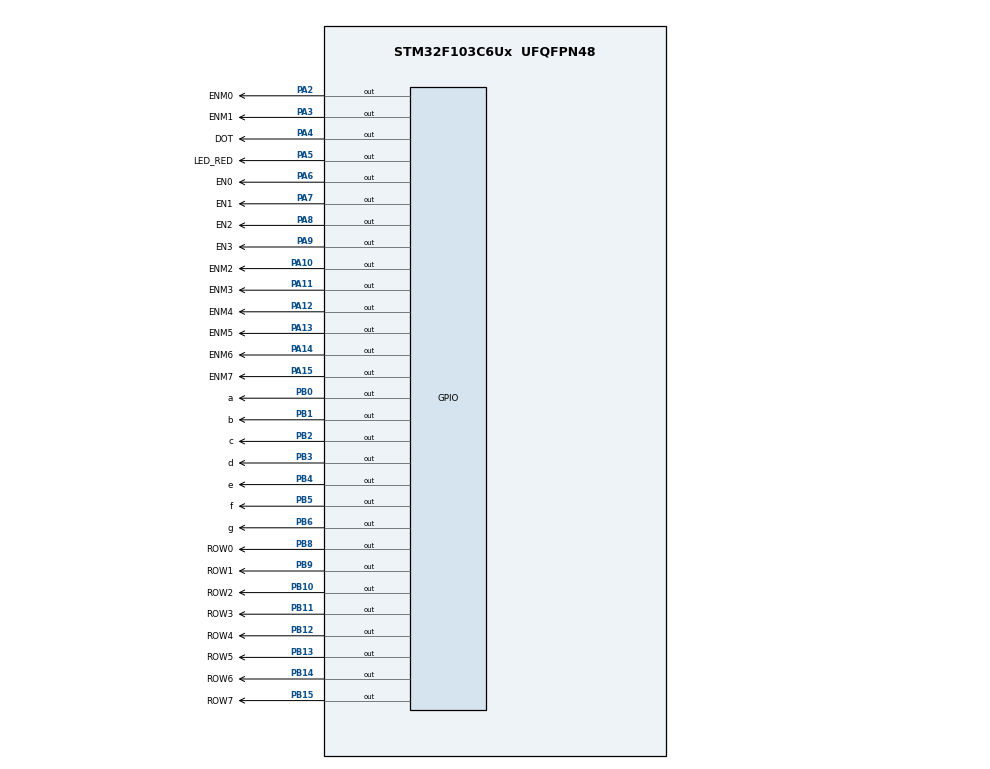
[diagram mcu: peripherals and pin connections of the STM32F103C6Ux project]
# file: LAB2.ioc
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Mcu.Family=STM32F1
Mcu.Name=STM32F103C6Ux
Mcu.Package=UFQFPN48
NVIC.PriorityGroup=NVIC_PRIORITYGROUP_4
NVIC.TIM2_IRQn=true\:0\:0\:false\:false\:true\:true\:true
PA10.GPIO_Label=ENM2
PA10.Signal=GPIO_Output
PA11.GPIO_Label=ENM3
PA11.Signal=GPIO_Output
PA12.GPIO_Label=ENM4
PA12.Signal=GPIO_Output
PA13.GPIO_Label=ENM5
PA13.Signal=GPIO_Output
PA14.GPIO_Label=ENM6
PA14.Signal=GPIO_Output
PA15.GPIO_Label=ENM7
PA15.Signal=GPIO_Output
PA2.GPIO_Label=ENM0
PA2.Signal=GPIO_Output
PA3.GPIO_Label=ENM1
PA3.Signal=GPIO_Output
PA4.GPIO_Label=DOT
PA4.Signal=GPIO_Output
PA5.GPIO_Label=LED_RED
PA5.Signal=GPIO_Output
PA6.GPIO_Label=EN0
PA6.Signal=GPIO_Output
PA7.GPIO_Label=EN1
PA7.Signal=GPIO_Output
PA8.GPIO_Label=EN2
PA8.Signal=GPIO_Output
PA9.GPIO_Label=EN3
PA9.Signal=GPIO_Output
PB0.GPIO_Label=a
PB0.Signal=GPIO_Output
PB1.GPIO_Label=b
PB1.Signal=GPIO_Output
PB10.GPIO_Label=ROW2
PB10.Signal=GPIO_Output
PB11.GPIO_Label=ROW3
PB11.Signal=GPIO_Output
PB12.GPIO_Label=ROW4
PB12.Signal=GPIO_Output
PB13.GPIO_Label=ROW5
PB13.Signal=GPIO_Output
PB14.GPIO_Label=ROW6
PB14.Signal=GPIO_Output
PB15.GPIO_Label=ROW7
PB15.Signal=GPIO_Output
PB2.GPIO_Label=c
PB2.Signal=GPIO_Output
PB3.GPIO_Label=d
PB3.Signal=GPIO_Output
PB4.GPIO_Label=e
PB4.Signal=GPIO_Output
PB5.GPIO_Label=f
PB5.Signal=GPIO_Output
PB6.GPIO_Label=g
PB6.Signal=GPIO_Output
PB8.GPIO_Label=ROW0
PB8.Signal=GPIO_Output
PB9.GPIO_Label=ROW1
PB9.Signal=GPIO_Output
ProjectManager.HeapSize=0x200
ProjectManager.StackSize=0x400
ProjectManager.TargetToolchain=STM32CubeIDE
RCC.APB1Freq_Value=8000000
RCC.APB2Freq_Value=8000000
TIM2.Period=9
TIM2.Prescaler=7999
VP_SYS_VS_ND.Mode=No_Debug
VP_TIM2_VS_ClockSourceINT.Mode=Internal
board=custom

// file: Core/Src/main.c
/* USER CODE BEGIN Header */
/**
  ******************************************************************************
  * @file           : main.c
  * @brief          : Main program body
  ******************************************************************************
  * @attention
  *
  * <h2><center>&copy; Copyright (c) 2023 STMicroelectronics.
  * All rights reserved.</center></h2>
  *
  * This software component is licensed by ST under BSD 3-Clause license,
  * the "License"; You may not use this file except in compliance with the
  * License. You may obtain a copy of the License at:
  *                        opensource.org/licenses/BSD-3-Clause
  *
  ******************************************************************************
  */
/* USER CODE END Header */
#include "main.h"

/* USER CODE BEGIN Includes */
# include "software_timer.h"
# include "LED7seg.h"
# include "LEDMatrix.h"
/* USER CODE END Includes */

TIM_HandleTypeDef htim2;

void SystemClock_Config(void);
static void MX_GPIO_Init(void);
static void MX_TIM2_Init(void);

/* USER CODE BEGIN 0 */
void updateClockBuffer(int hour, int min);
void update7SEG(int index);
void updateLEDMatrix(int index_led_matrix);
void updateIndex();
/* USER CODE END 0 */

int main(void)
{

  /* MCU Configuration--------------------------------------------------------*/

  /* Reset of all peripherals, Initializes the Flash interface and the Systick. */
  HAL_Init();

  /* USER CODE BEGIN Init */
  int index = 0;
  int counter = 0;
  int hour = 15, min = 8, sec = 50;
  int index_led_matrix = 0;
  int counter_led_matrix = 0;
  /* USER CODE END Init */

  /* Configure the system clock */
  SystemClock_Config();

  /* Initialize all configured peripherals */
  MX_GPIO_Init();
  MX_TIM2_Init();
  /* USER CODE BEGIN 2 */
  HAL_TIM_Base_Start_IT(&htim2);

  /* USER CODE END 2 */

  /* Infinite loop */
  /* USER CODE BEGIN WHILE */
  setTimer1(25);
  //setTimer2(100);
  setTimer3(10);
  updateClockBuffer(hour, min);
  while (1)
  {
	  if(timer1_flag == 1){
		  if(counter > 3){
			  sec++;
			  if (sec >= 60){
				  sec = 0;
				  min++;
			  }
			  if(min >= 60){
				  min = 0;
				  hour++;
			  }
			  if(hour >=24){
				  hour = 0;
			  }
			  updateClockBuffer(hour, min);
			  HAL_GPIO_TogglePin(DOT_GPIO_Port, DOT_Pin);
			  counter = 0;
		  }
		  counter++;
		  update7SEG(index++);
		  if(index > 3) index = 0;
		  setTimer1(25);
	  }

	  if(timer3_flag == 1){
		  if(counter_led_matrix > 7){
			  updateIndex();
			  counter_led_matrix = 0;
		  }
		  counter_led_matrix++;
		  updateLEDMatrix(index_led_matrix++);
		  if(index_led_matrix > 7) index_led_matrix = 0;
		  setTimer3(10);
	  }
    /* USER CODE END WHILE */

  }
}

void SystemClock_Config(void)
{
  RCC_OscInitTypeDef RCC_OscInitStruct = {0};
  RCC_ClkInitTypeDef RCC_ClkInitStruct = {0};

  /** Initializes the RCC Oscillators according to the specified parameters
  * in the RCC_OscInitTypeDef structure.
  */
  RCC_OscInitStruct.OscillatorType = RCC_OSCILLATORTYPE_HSI;
  RCC_OscInitStruct.HSIState = RCC_HSI_ON;
  RCC_OscInitStruct.HSICalibrationValue = RCC_HSICALIBRATION_DEFAULT;
  RCC_OscInitStruct.PLL.PLLState = RCC_PLL_NONE;
  if (HAL_RCC_OscConfig(&RCC_OscInitStruct) != HAL_OK)
  {
    Error_Handler();
  }
  /** Initializes the CPU, AHB and APB buses clocks
  */
  RCC_ClkInitStruct.ClockType = RCC_CLOCKTYPE_HCLK|RCC_CLOCKTYPE_SYSCLK
                              |RCC_CLOCKTYPE_PCLK1|RCC_CLOCKTYPE_PCLK2;
  RCC_ClkInitStruct.SYSCLKSource = RCC_SYSCLKSOURCE_HSI;
  RCC_ClkInitStruct.AHBCLKDivider = RCC_SYSCLK_DIV1;
  RCC_ClkInitStruct.APB1CLKDivider = RCC_HCLK_DIV1;
  RCC_ClkInitStruct.APB2CLKDivider = RCC_HCLK_DIV1;

  if (HAL_RCC_ClockConfig(&RCC_ClkInitStruct, FLASH_LATENCY_0) != HAL_OK)
  {
    Error_Handler();
  }
}

static void MX_TIM2_Init(void)
{

  TIM_ClockConfigTypeDef sClockSourceConfig = {0};
  TIM_MasterConfigTypeDef sMasterConfig = {0};

  htim2.Instance = TIM2;
  htim2.Init.Prescaler = 7999;
  htim2.Init.CounterMode = TIM_COUNTERMODE_UP;
  htim2.Init.Period = 9;
  htim2.Init.ClockDivision = TIM_CLOCKDIVISION_DIV1;
  htim2.Init.AutoReloadPreload = TIM_AUTORELOAD_PRELOAD_DISABLE;
  if (HAL_TIM_Base_Init(&htim2) != HAL_OK)
  {
    Error_Handler();
  }
  sClockSourceConfig.ClockSource = TIM_CLOCKSOURCE_INTERNAL;
  if (HAL_TIM_ConfigClockSource(&htim2, &sClockSourceConfig) != HAL_OK)
  {
    Error_Handler();
  }
  sMasterConfig.MasterOutputTrigger = TIM_TRGO_RESET;
  sMasterConfig.MasterSlaveMode = TIM_MASTERSLAVEMODE_DISABLE;
  if (HAL_TIMEx_MasterConfigSynchronization(&htim2, &sMasterConfig) != HAL_OK)
  {
    Error_Handler();
  }

}

static void MX_GPIO_Init(void)
{
  GPIO_InitTypeDef GPIO_InitStruct = {0};

  /* GPIO Ports Clock Enable */
  __HAL_RCC_GPIOA_CLK_ENABLE();
  __HAL_RCC_GPIOB_CLK_ENABLE();

  /*Configure GPIO pin Output Level */
  HAL_GPIO_WritePin(GPIOA, ENM0_Pin|ENM1_Pin|DOT_Pin|LED_RED_Pin
                          |EN0_Pin|EN1_Pin|EN2_Pin|EN3_Pin
                          |ENM2_Pin|ENM3_Pin|ENM4_Pin|ENM5_Pin
                          |ENM6_Pin|ENM7_Pin, GPIO_PIN_RESET);

  /*Configure GPIO pin Output Level */
  HAL_GPIO_WritePin(GPIOB, a_Pin|b_Pin|c_Pin|ROW2_Pin
                          |ROW3_Pin|ROW4_Pin|ROW5_Pin|ROW6_Pin
                          |ROW7_Pin|d_Pin|e_Pin|f_Pin
                          |g_Pin|ROW0_Pin|ROW1_Pin, GPIO_PIN_RESET);

  /*Configure GPIO pins : ENM0_Pin ENM1_Pin DOT_Pin LED_RED_Pin
                           EN0_Pin EN1_Pin EN2_Pin EN3_Pin
                           ENM2_Pin ENM3_Pin ENM4_Pin ENM5_Pin
                           ENM6_Pin ENM7_Pin */
  GPIO_InitStruct.Pin = ENM0_Pin|ENM1_Pin|DOT_Pin|LED_RED_Pin
                          |EN0_Pin|EN1_Pin|EN2_Pin|EN3_Pin
                          |ENM2_Pin|ENM3_Pin|ENM4_Pin|ENM5_Pin
                          |ENM6_Pin|ENM7_Pin;
  GPIO_InitStruct.Mode = GPIO_MODE_OUTPUT_PP;
  GPIO_InitStruct.Pull = GPIO_NOPULL;
  GPIO_InitStruct.Speed = GPIO_SPEED_FREQ_LOW;
  HAL_GPIO_Init(GPIOA, &GPIO_InitStruct);

  /*Configure GPIO pins : a_Pin b_Pin c_Pin ROW2_Pin
                           ROW3_Pin ROW4_Pin ROW5_Pin ROW6_Pin
                           ROW7_Pin d_Pin e_Pin f_Pin
                           g_Pin ROW0_Pin ROW1_Pin */
  GPIO_InitStruct.Pin = a_Pin|b_Pin|c_Pin|ROW2_Pin
                          |ROW3_Pin|ROW4_Pin|ROW5_Pin|ROW6_Pin
                          |ROW7_Pin|d_Pin|e_Pin|f_Pin
                          |g_Pin|ROW0_Pin|ROW1_Pin;
  GPIO_InitStruct.Mode = GPIO_MODE_OUTPUT_PP;
  GPIO_InitStruct.Pull = GPIO_NOPULL;
  GPIO_InitStruct.Speed = GPIO_SPEED_FREQ_LOW;
  HAL_GPIO_Init(GPIOB, &GPIO_InitStruct);

}

/* USER CODE BEGIN 4 */
const int MAX_LED = 4;
int led_buffer[4] = {1, 2, 3, 4};

void updateClockBuffer(int hour, int min){
	if(hour < 24 && hour >= 0 && min < 60 && min >= 0){
		led_buffer[0] = hour / 10;
		led_buffer[1] = hour % 10;
		led_buffer[2] = min / 10;
		led_buffer[3] = min % 10;
	}
}
void update7SEG(int index){
    switch (index){
        case 0:
        	HAL_GPIO_WritePin(EN0_GPIO_Port, EN0_Pin, 0);
        	HAL_GPIO_WritePin(EN1_GPIO_Port, EN1_Pin, 1);
        	HAL_GPIO_WritePin(EN2_GPIO_Port, EN2_Pin, 1);
        	HAL_GPIO_WritePin(EN3_GPIO_Port, EN3_Pin, 1);
        	display7SEG(led_buffer[0]);
            break;
        case 1:
        	HAL_GPIO_WritePin(EN0_GPIO_Port, EN0_Pin, 1);
        	HAL_GPIO_WritePin(EN1_GPIO_Port, EN1_Pin, 0);
        	HAL_GPIO_WritePin(EN2_GPIO_Port, EN2_Pin, 1);
        	HAL_GPIO_WritePin(EN3_GPIO_Port, EN3_Pin, 1);
        	display7SEG(led_buffer[1]);
            break;
        case 2:
        	HAL_GPIO_WritePin(EN0_GPIO_Port, EN0_Pin, 1);
        	HAL_GPIO_WritePin(EN1_GPIO_Port, EN1_Pin, 1);
        	HAL_GPIO_WritePin(EN2_GPIO_Port, EN2_Pin, 0);
        	HAL_GPIO_WritePin(EN3_GPIO_Port, EN3_Pin, 1);
        	display7SEG(led_buffer[2]);
            break;
        case 3:
        	HAL_GPIO_WritePin(EN0_GPIO_Port, EN0_Pin, 1);
        	HAL_GPIO_WritePin(EN1_GPIO_Port, EN1_Pin, 1);
        	HAL_GPIO_WritePin(EN2_GPIO_Port, EN2_Pin, 1);
        	HAL_GPIO_WritePin(EN3_GPIO_Port, EN3_Pin, 0);
        	display7SEG(led_buffer[3]);
            break;
        default:
            break;
    }
}

const int MAX_LED_MATRIX = 8;
uint8_t matrix_buffer[8] = {0x07, 0x03, 0xcd, 0xcc, 0xcc, 0xcd, 0x03, 0x07};//A
void updateLEDMatrix(int index){
    switch (index){
        case 0:
        	HAL_GPIO_WritePin(ENM0_GPIO_Port, ENM0_Pin, 0);
        	HAL_GPIO_WritePin(ENM1_GPIO_Port, ENM1_Pin, 1);
        	HAL_GPIO_WritePin(ENM2_GPIO_Port, ENM2_Pin, 1);
        	HAL_GPIO_WritePin(ENM3_GPIO_Port, ENM3_Pin, 1);
        	HAL_GPIO_WritePin(ENM4_GPIO_Port, ENM4_Pin, 1);
        	HAL_GPIO_WritePin(ENM5_GPIO_Port, ENM5_Pin, 1);
        	HAL_GPIO_WritePin(ENM6_GPIO_Port, ENM6_Pin, 1);
        	HAL_GPIO_WritePin(ENM7_GPIO_Port, ENM7_Pin, 1);
        	displayLEDMatrix(matrix_buffer[0]);
            break;
        case 1:
        	HAL_GPIO_WritePin(ENM0_GPIO_Port, ENM0_Pin, 1);
        	HAL_GPIO_WritePin(ENM1_GPIO_Port, ENM1_Pin, 0);
        	HAL_GPIO_WritePin(ENM2_GPIO_Port, ENM2_Pin, 1);
        	HAL_GPIO_WritePin(ENM3_GPIO_Port, ENM3_Pin, 1);
        	HAL_GPIO_WritePin(ENM4_GPIO_Port, ENM4_Pin, 1);
        	HAL_GPIO_WritePin(ENM5_GPIO_Port, ENM5_Pin, 1);
        	HAL_GPIO_WritePin(ENM6_GPIO_Port, ENM6_Pin, 1);
        	HAL_GPIO_WritePin(ENM7_GPIO_Port, ENM7_Pin, 1);
        	displayLEDMatrix(matrix_buffer[1]);
            break;
        case 2:
        	HAL_GPIO_WritePin(ENM0_GPIO_Port, ENM0_Pin, 1);
        	HAL_GPIO_WritePin(ENM1_GPIO_Port, ENM1_Pin, 1);
        	HAL_GPIO_WritePin(ENM2_GPIO_Port, ENM2_Pin, 0);
        	HAL_GPIO_WritePin(ENM3_GPIO_Port, ENM3_Pin, 1);
        	HAL_GPIO_WritePin(ENM4_GPIO_Port, ENM4_Pin, 1);
        	HAL_GPIO_WritePin(ENM5_GPIO_Port, ENM5_Pin, 1);
        	HAL_GPIO_WritePin(ENM6_GPIO_Port, ENM6_Pin, 1);
        	HAL_GPIO_WritePin(ENM7_GPIO_Port, ENM7_Pin, 1);
        	displayLEDMatrix(matrix_buffer[2]);
            break;
        case 3:
        	HAL_GPIO_WritePin(ENM0_GPIO_Port, ENM0_Pin, 1);
        	HAL_GPIO_WritePin(ENM1_GPIO_Port, ENM1_Pin, 1);
        	HAL_GPIO_WritePin(ENM2_GPIO_Port, ENM2_Pin, 1);
        	HAL_GPIO_WritePin(ENM3_GPIO_Port, ENM3_Pin, 0);
        	HAL_GPIO_WritePin(ENM4_GPIO_Port, ENM4_Pin, 1);
        	HAL_GPIO_WritePin(ENM5_GPIO_Port, ENM5_Pin, 1);
        	HAL_GPIO_WritePin(ENM6_GPIO_Port, ENM6_Pin, 1);
        	HAL_GPIO_WritePin(ENM7_GPIO_Port, ENM7_Pin, 1);
        	displayLEDMatrix(matrix_buffer[3]);
            break;
        case 4:
        	HAL_GPIO_WritePin(ENM0_GPIO_Port, ENM0_Pin, 1);
        	HAL_GPIO_WritePin(ENM1_GPIO_Port, ENM1_Pin, 1);
        	HAL_GPIO_WritePin(ENM2_GPIO_Port, ENM2_Pin, 1);
        	HAL_GPIO_WritePin(ENM3_GPIO_Port, ENM3_Pin, 1);
        	HAL_GPIO_WritePin(ENM4_GPIO_Port, ENM4_Pin, 0);
        	HAL_GPIO_WritePin(ENM5_GPIO_Port, ENM5_Pin, 1);
        	HAL_GPIO_WritePin(ENM6_GPIO_Port, ENM6_Pin, 1);
        	HAL_GPIO_WritePin(ENM7_GPIO_Port, ENM7_Pin, 1);
        	displayLEDMatrix(matrix_buffer[4]);
            break;
        case 5:
        	HAL_GPIO_WritePin(ENM0_GPIO_Port, ENM0_Pin, 1);
        	HAL_GPIO_WritePin(ENM1_GPIO_Port, ENM1_Pin, 1);
        	HAL_GPIO_WritePin(ENM2_GPIO_Port, ENM2_Pin, 1);
        	HAL_GPIO_WritePin(ENM3_GPIO_Port, ENM3_Pin, 1);
        	HAL_GPIO_WritePin(ENM4_GPIO_Port, ENM4_Pin, 1);
        	HAL_GPIO_WritePin(ENM5_GPIO_Port, ENM5_Pin, 0);
        	HAL_GPIO_WritePin(ENM6_GPIO_Port, ENM6_Pin, 1);
        	HAL_GPIO_WritePin(ENM7_GPIO_Port, ENM7_Pin, 1);
        	displayLEDMatrix(matrix_buffer[5]);
            break;
        case 6:
        	HAL_GPIO_WritePin(ENM0_GPIO_Port, ENM0_Pin, 1);
        	HAL_GPIO_WritePin(ENM1_GPIO_Port, ENM1_Pin, 1);
        	HAL_GPIO_WritePin(ENM2_GPIO_Port, ENM2_Pin, 1);
        	HAL_GPIO_WritePin(ENM3_GPIO_Port, ENM3_Pin, 1);
        	HAL_GPIO_WritePin(ENM4_GPIO_Port, ENM4_Pin, 1);
        	HAL_GPIO_WritePin(ENM5_GPIO_Port, ENM5_Pin, 1);
        	HAL_GPIO_WritePin(ENM6_GPIO_Port, ENM6_Pin, 0);
        	HAL_GPIO_WritePin(ENM7_GPIO_Port, ENM7_Pin, 1);
        	displayLEDMatrix(matrix_buffer[6]);
            break;
        case 7:
        	HAL_GPIO_WritePin(ENM0_GPIO_Port, ENM0_Pin, 1);
        	HAL_GPIO_WritePin(ENM1_GPIO_Port, ENM1_Pin, 1);
        	HAL_GPIO_WritePin(ENM2_GPIO_Port, ENM2_Pin, 1);
        	HAL_GPIO_WritePin(ENM3_GPIO_Port, ENM3_Pin, 1);
        	HAL_GPIO_WritePin(ENM4_GPIO_Port, ENM4_Pin, 1);
        	HAL_GPIO_WritePin(ENM5_GPIO_Port, ENM5_Pin, 1);
        	HAL_GPIO_WritePin(ENM6_GPIO_Port, ENM6_Pin, 1);
        	HAL_GPIO_WritePin(ENM7_GPIO_Port, ENM7_Pin, 0);
        	displayLEDMatrix(matrix_buffer[7]);
            break;
        default:
            break;
    }
}

void updateIndex(){
	uint8_t temp = matrix_buffer[0];
	matrix_buffer[0] = matrix_buffer[1];
	matrix_buffer[1] = matrix_buffer[2];
	matrix_buffer[2] = matrix_buffer[3];
	matrix_buffer[3] = matrix_buffer[4];
	matrix_buffer[4] = matrix_buffer[5];
	matrix_buffer[5] = matrix_buffer[6];
	matrix_buffer[6] = matrix_buffer[7];
	matrix_buffer[7] = temp;
}

void HAL_TIM_PeriodElapsedCallback(TIM_HandleTypeDef *htim){
	timerRun();
}
/* USER CODE END 4 */

void Error_Handler(void)
{
  __disable_irq();
  while (1)
  {
  }
}

/************************ (C) COPYRIGHT STMicroelectronics *****END OF FILE****/
